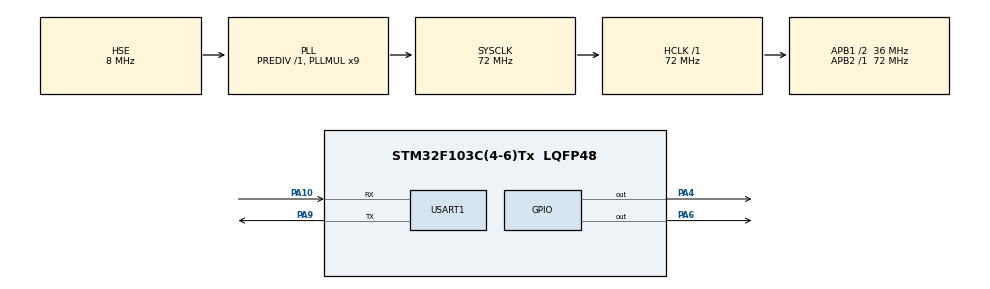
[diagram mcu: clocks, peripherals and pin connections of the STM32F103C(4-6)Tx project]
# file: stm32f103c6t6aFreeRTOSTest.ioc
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FREERTOS.Tasks01=defaultTask,24,128,StartDefaultTask,Default,NULL,Dynamic,NULL,NULL;Led_Toggle,24,128,vLedTask,Default,NULL,Dynamic,NULL,NULL
FREERTOS.configUSE_NEWLIB_REENTRANT=1
Mcu.Family=STM32F1
Mcu.Name=STM32F103C(4-6)Tx
Mcu.Package=LQFP48
NVIC.PriorityGroup=NVIC_PRIORITYGROUP_4
NVIC.TIM1_UP_IRQn=true\:15\:0\:false\:false\:true\:false\:false\:true\:true
NVIC.TimeBase=TIM1_UP_IRQn
NVIC.TimeBaseIP=TIM1
PA10.Mode=Asynchronous
PA10.Signal=USART1_RX
PA13.Mode=Serial_Wire
PA13.Signal=SYS_JTMS-SWDIO
PA14.Mode=Serial_Wire
PA14.Signal=SYS_JTCK-SWCLK
PA4.Signal=GPIO_Output
PA6.Signal=GPIO_Output
PA9.Mode=Asynchronous
PA9.Signal=USART1_TX
PD0-OSC_IN.Mode=HSE-External-Oscillator
PD0-OSC_IN.Signal=RCC_OSC_IN
PD1-OSC_OUT.Mode=HSE-External-Oscillator
PD1-OSC_OUT.Signal=RCC_OSC_OUT
ProjectManager.HeapSize=0x200
ProjectManager.StackSize=0x400
ProjectManager.TargetToolchain=STM32CubeIDE
RCC.AHBFreq_Value=72000000
RCC.APB1CLKDivider=RCC_HCLK_DIV2
RCC.APB1Freq_Value=36000000
RCC.APB1TimFreq_Value=72000000
RCC.APB2Freq_Value=72000000
RCC.APB2TimFreq_Value=72000000
RCC.HCLKFreq_Value=72000000
RCC.PLLMUL=RCC_PLL_MUL9
RCC.PLLSourceVirtual=RCC_PLLSOURCE_HSE
RCC.SYSCLKFreq_VALUE=72000000
RCC.SYSCLKSource=RCC_SYSCLKSOURCE_PLLCLK
RCC.USBFreq_Value=72000000
USART1.VirtualMode=VM_ASYNC
VP_FREERTOS_VS_CMSIS_V2.Mode=CMSIS_V2
VP_SYS_VS_tim1.Mode=TIM1
board=custom

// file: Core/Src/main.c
/* USER CODE BEGIN Header */
/**
  ******************************************************************************
  * @file           : main.c
  * @brief          : Main program body
  ******************************************************************************
  * @attention
  *
  * Copyright (c) 2025 STMicroelectronics.
  * All rights reserved.
  *
  * This software is licensed under terms that can be found in the LICENSE file
  * in the root directory of this software component.
  * If no LICENSE file comes with this software, it is provided AS-IS.
  *
  ******************************************************************************
  */
/* USER CODE END Header */
#include "main.h"
#include "cmsis_os.h"
#include "usart.h"
#include "gpio.h"
#include <stdio.h>
#include <string.h>

void SystemClock_Config(void);
void MX_FREERTOS_Init(void);
/* USER CODE BEGIN PFP */

extern UART_HandleTypeDef huart1;

static uint32_t ledCounter = 0;

void vLedTask(void *argument) {

	char buffer[50];

	for(;;) {
		HAL_GPIO_TogglePin(GPIOA, GPIO_PIN_6);

		if (HAL_GPIO_ReadPin(GPIOA, GPIO_PIN_6) == GPIO_PIN_SET) {
					ledCounter++;
		            sprintf(buffer, "LED ON Count: %ld\r\n", ledCounter);
		            HAL_UART_Transmit(&huart1, (uint8_t*)buffer, strlen(buffer), 100);
		        }

		osDelay(500);

	}
}

/* USER CODE END PFP */

int main(void)
{

  /* USER CODE BEGIN 1 */

	//osKernelInitialize();
	//osThreadNew(StartDefaultTask, NULL, &defaultTask_attributes);
	//osKernelStart();

	osThreadId_t ledTaskHandle;
	const osThreadAttr_t ledTask_attributes = {
	  .name = "ledTask",
	  .stack_size = 128 * 4,
	  .priority = (osPriority_t) osPriorityNormal,
	};

	/* Task 생성 함수 (main() 함수 내부에 추가) */
	void CreateLedTask(void) {
	    ledTaskHandle = osThreadNew(vLedTask, NULL, &ledTask_attributes);
	}

  /* USER CODE END 1 */

  /* MCU Configuration--------------------------------------------------------*/

  /* Reset of all peripherals, Initializes the Flash interface and the Systick. */
  HAL_Init();

  /* Configure the system clock */
  SystemClock_Config();

  /* Initialize all configured peripherals */
  MX_GPIO_Init();
  MX_USART1_UART_Init();

  /* Init scheduler */
  osKernelInitialize();

  /* Call init function for freertos objects (in cmsis_os2.c) */
  MX_FREERTOS_Init();

  /* Start scheduler */
  osKernelStart();

  /* We should never get here as control is now taken by the scheduler */

  /* Infinite loop */
  while (1)
  {

  }
}

void SystemClock_Config(void)
{
  RCC_OscInitTypeDef RCC_OscInitStruct = {0};
  RCC_ClkInitTypeDef RCC_ClkInitStruct = {0};

  /** Initializes the RCC Oscillators according to the specified parameters
  * in the RCC_OscInitTypeDef structure.
  */
  RCC_OscInitStruct.OscillatorType = RCC_OSCILLATORTYPE_HSE;
  RCC_OscInitStruct.HSEState = RCC_HSE_ON;
  RCC_OscInitStruct.HSEPredivValue = RCC_HSE_PREDIV_DIV1;
  RCC_OscInitStruct.HSIState = RCC_HSI_ON;
  RCC_OscInitStruct.PLL.PLLState = RCC_PLL_ON;
  RCC_OscInitStruct.PLL.PLLSource = RCC_PLLSOURCE_HSE;
  RCC_OscInitStruct.PLL.PLLMUL = RCC_PLL_MUL9;
  if (HAL_RCC_OscConfig(&RCC_OscInitStruct) != HAL_OK)
  {
    Error_Handler();
  }

  /** Initializes the CPU, AHB and APB buses clocks
  */
  RCC_ClkInitStruct.ClockType = RCC_CLOCKTYPE_HCLK|RCC_CLOCKTYPE_SYSCLK
                              |RCC_CLOCKTYPE_PCLK1|RCC_CLOCKTYPE_PCLK2;
  RCC_ClkInitStruct.SYSCLKSource = RCC_SYSCLKSOURCE_PLLCLK;
  RCC_ClkInitStruct.AHBCLKDivider = RCC_SYSCLK_DIV1;
  RCC_ClkInitStruct.APB1CLKDivider = RCC_HCLK_DIV2;
  RCC_ClkInitStruct.APB2CLKDivider = RCC_HCLK_DIV1;

  if (HAL_RCC_ClockConfig(&RCC_ClkInitStruct, FLASH_LATENCY_2) != HAL_OK)
  {
    Error_Handler();
  }
}

void HAL_TIM_PeriodElapsedCallback(TIM_HandleTypeDef *htim)
{
  if (htim->Instance == TIM1)
  {
    HAL_IncTick();
  }
}

void Error_Handler(void)
{
  __disable_irq();
  while (1)
  {
  }
}

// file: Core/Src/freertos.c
/* USER CODE BEGIN Header */
/**
  ******************************************************************************
  * File Name          : freertos.c
  * Description        : Code for freertos applications
  ******************************************************************************
  * @attention
  *
  * Copyright (c) 2025 STMicroelectronics.
  * All rights reserved.
  *
  * This software is licensed under terms that can be found in the LICENSE file
  * in the root directory of this software component.
  * If no LICENSE file comes with this software, it is provided AS-IS.
  *
  ******************************************************************************
  */
/* USER CODE END Header */

#include "FreeRTOS.h"
#include "task.h"
#include "main.h"
#include "cmsis_os.h"

/* Definitions for defaultTask */
osThreadId_t defaultTaskHandle;
const osThreadAttr_t defaultTask_attributes = {
  .name = "defaultTask",
  .stack_size = 128 * 4,
  .priority = (osPriority_t) osPriorityNormal,
};
/* Definitions for Led_Toggle */
osThreadId_t Led_ToggleHandle;
const osThreadAttr_t Led_Toggle_attributes = {
  .name = "Led_Toggle",
  .stack_size = 128 * 4,
  .priority = (osPriority_t) osPriorityNormal,
};

void StartDefaultTask(void *argument);
void vLedTask(void *argument);

void MX_FREERTOS_Init(void); /* (MISRA C 2004 rule 8.1) */

void MX_FREERTOS_Init(void) {

  /* Create the thread(s) */
  /* creation of defaultTask */
  defaultTaskHandle = osThreadNew(StartDefaultTask, NULL, &defaultTask_attributes);

  /* creation of Led_Toggle */
  Led_ToggleHandle = osThreadNew(vLedTask, NULL, &Led_Toggle_attributes);

}

void StartDefaultTask(void *argument)
{
  for(;;)
  {
    osDelay(1);
  }
}

void vLedTask(void *argument)
{
  for(;;)
  {
    osDelay(1);
  }
}
